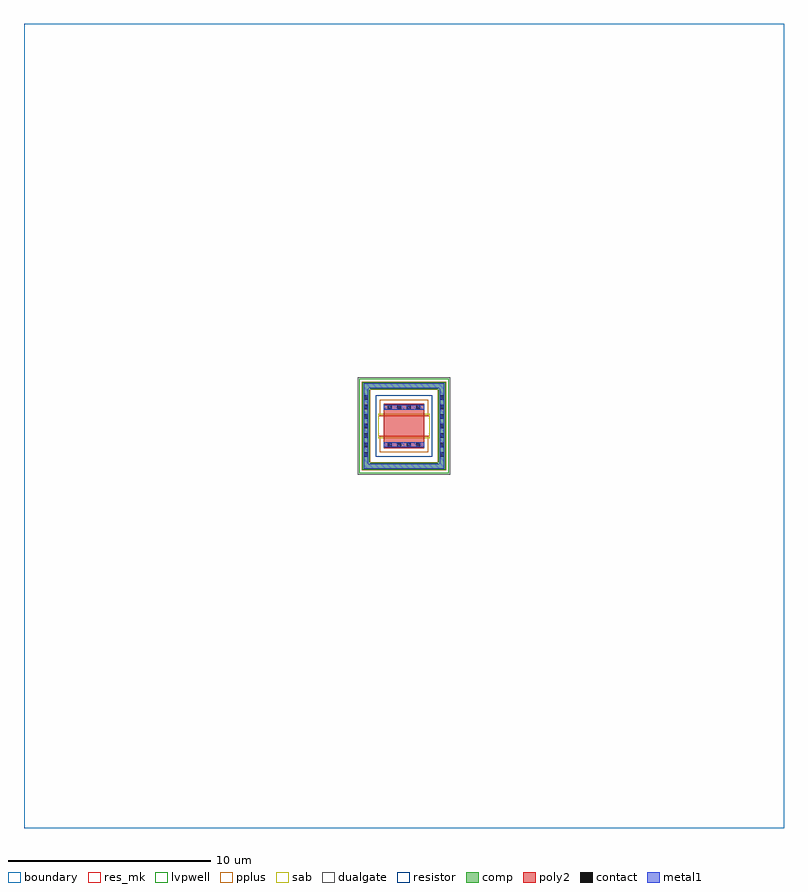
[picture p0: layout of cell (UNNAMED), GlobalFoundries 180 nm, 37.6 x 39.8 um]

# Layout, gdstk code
import gdstk
lib = gdstk.Library(unit=1e-6, precision=1e-09)
def R(c, l, rs):  # rectangles x0, y0, x1, y1
    for r in rs: c.add(gdstk.rectangle(r[:2], r[2:], *l))
def A(c, l, x, y, w, h, nx, ny, dx, dy):  # array of equal rectangles
    R(c, l, [(x+i*dx, y+j*dy, x+i*dx+w, y+j*dy+h) for i in range(nx) for j in range(ny)])
boundary = (0, 0)
comp = (22, 0)
poly2 = (30, 0)
pplus = (31, 0)
contact = (33, 0)
metal1 = (34, 0)
sab = (49, 0)
dualgate = (55, 0)
resistor = (62, 0)
res_mk = (110, 5)
lvpwell = (204, 0)

c__unnamed_ = lib.new_cell('(UNNAMED)')
R(c__unnamed_, boundary, [(-18.8,-19.9,18.8,19.9)])
R(c__unnamed_, comp, [(-2.06,-2.17,2.06,-1.81), (-2.06,-1.81,-1.7,1.81), (1.7,-1.81,2.06,1.81), (-2.06,1.81,2.06,2.17)])
R(c__unnamed_, poly2, [(-1,-1.11,1,1.11)])
R(c__unnamed_, pplus, [(-2.08,-2.19,2.08,-1.79), (-2.08,-1.79,-1.67,-1.685), (1.67,-1.79,2.08,-1.685), (-2.09,-1.685,-1.67,1.685), (1.67,-1.685,2.09,1.685), (-1.2,-1.31,1.2,-0.5), (-1.2,0.5,1.2,1.31), (-2.08,1.685,-1.67,1.79), (1.67,1.685,2.08,1.79), (-2.08,1.79,2.08,2.19)])
A(c__unnamed_, contact, -1.99, -1.52, 0.22, 0.22, 1, 7, 0, 0.47)
A(c__unnamed_, contact, 1.77, -1.52, 0.22, 0.22, 1, 7, 0, 0.47)
A(c__unnamed_, contact, -0.815, -1.04, 0.22, 0.22, 4, 2, 0.47, 1.86)
R(c__unnamed_, metal1, [(-1.995,-2.105,1.995,-1.875), (-1.995,-1.875,-1.765,1.875), (1.765,-1.875,1.995,1.875), (-0.99,-1.045,0.99,-0.815), (-0.99,0.815,0.99,1.045), (-1.995,1.875,1.995,2.105)])
R(c__unnamed_, sab, [(-1.28,-0.6,1.28,0.6), (-1.28,-0.5,1.28,0.5)])
R(c__unnamed_, dualgate, [(-2.3,-2.41,2.3,2.41)])
R(c__unnamed_, resistor, [(-1.4,-1.51,1.4,1.51)])
R(c__unnamed_, res_mk, [(-1.28,-0.5,1.28,0.5), (-1,-0.5,1,0.5)])
R(c__unnamed_, lvpwell, [(-2.22,-2.33,2.22,2.33)])

lib.write_gds('_UNNAMED_.gds')
